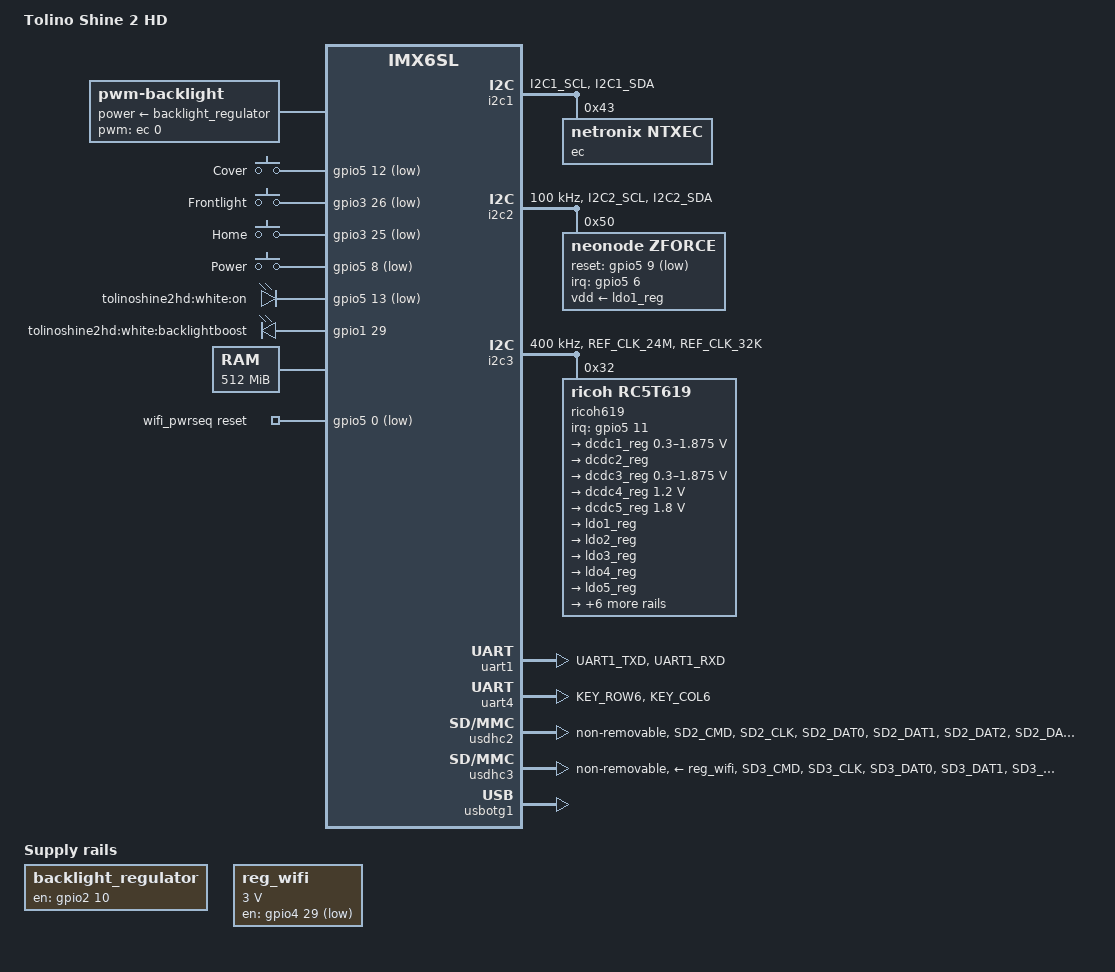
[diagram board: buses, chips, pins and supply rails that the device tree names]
// SPDX-License-Identifier: GPL-2.0
/*
 * Device tree for the Tolino Shine 2 HD ebook reader
 *
 * Name on mainboard is: 37NB-E60QF0+4A2 or 37NB-E60QF0+4A3
 * Serials start with: E60QF2
 *
 * Copyright 2020 Andreas Kemnade
 */

/dts-v1/;

#include <dt-bindings/input/input.h>
#include <dt-bindings/gpio/gpio.h>
#include "imx6sl.dtsi"

/ {
	model = "Tolino Shine 2 HD";
	compatible = "kobo,tolino-shine2hd", "fsl,imx6sl";

	backlight {
		compatible = "pwm-backlight";
		pwms = <&ec 0 50000>;
		power-supply = <&backlight_regulator>;
	};

	backlight_regulator: regulator-backlight {
		compatible = "regulator-fixed";
		pinctrl-names = "default";
		pinctrl-0 = <&pinctrl_backlight_power>;
		regulator-name = "backlight";
		gpio = <&gpio2 10 GPIO_ACTIVE_HIGH>;
		enable-active-high;
	};

	chosen {
		stdout-path = &uart1;
	};

	gpio_keys: gpio-keys {
		compatible = "gpio-keys";
		pinctrl-names = "default";
		pinctrl-0 = <&pinctrl_gpio_keys>;

		key-cover {
			label = "Cover";
			gpios = <&gpio5 12 GPIO_ACTIVE_LOW>;
			linux,code = <SW_LID>;
			linux,input-type = <EV_SW>;
			wakeup-source;
		};

		key-fl {
			label = "Frontlight";
			gpios = <&gpio3 26 GPIO_ACTIVE_LOW>;
			linux,code = <KEY_BRIGHTNESS_CYCLE>;
		};

		key-home {
			label = "Home";
			gpios = <&gpio3 25 GPIO_ACTIVE_LOW>;
			linux,code = <KEY_HOME>;
		};

		key-power {
			label = "Power";
			gpios = <&gpio5 8 GPIO_ACTIVE_LOW>;
			linux,code = <KEY_POWER>;
			wakeup-source;
		};
	};

	leds: leds {
		compatible = "gpio-leds";
		pinctrl-names = "default";
		pinctrl-0 = <&pinctrl_led>;

		led-0 {
			label = "tolinoshine2hd:white:on";
			gpios = <&gpio5 13 GPIO_ACTIVE_LOW>;
			linux,default-trigger = "timer";
		};

		led-1 {
			label = "tolinoshine2hd:white:backlightboost";
			gpios = <&gpio1 29 GPIO_ACTIVE_HIGH>;
			linux,default-trigger = "off";
		};
	};

	memory@80000000 {
		device_type = "memory";
		reg = <0x80000000 0x20000000>;
	};

	reg_wifi: regulator-wifi {
		compatible = "regulator-fixed";
		pinctrl-names = "default";
		pinctrl-0 = <&pinctrl_wifi_power>;
		regulator-name = "SD3_SPWR";
		regulator-min-microvolt = <3000000>;
		regulator-max-microvolt = <3000000>;
		gpio = <&gpio4 29 GPIO_ACTIVE_LOW>;
	};

	wifi_pwrseq: wifi_pwrseq {
		compatible = "mmc-pwrseq-simple";
		pinctrl-names = "default";
		pinctrl-0 = <&pinctrl_wifi_reset>;
		post-power-on-delay-ms = <20>;
		reset-gpios = <&gpio5 0 GPIO_ACTIVE_LOW>;
	};
};

&i2c1 {
	pinctrl-names = "default","sleep";
	pinctrl-0 = <&pinctrl_i2c1>;
	pinctrl-1 = <&pinctrl_i2c1_sleep>;
	status = "okay";

	ec: embedded-controller@43 {
		compatible = "netronix,ntxec";
		reg = <0x43>;
		#pwm-cells = <2>;
	};
};

&i2c2 {
	pinctrl-names = "default","sleep";
	pinctrl-0 = <&pinctrl_i2c2>;
	pinctrl-1 = <&pinctrl_i2c2_sleep>;
	clock-frequency = <100000>;
	status = "okay";

	zforce: touchscreen@50 {
		compatible = "neonode,zforce";
		pinctrl-names = "default";
		pinctrl-0 = <&pinctrl_zforce>;
		reg = <0x50>;
		interrupt-parent = <&gpio5>;
		interrupts = <6 IRQ_TYPE_EDGE_FALLING>;
		vdd-supply = <&ldo1_reg>;
		reset-gpios = <&gpio5 9 GPIO_ACTIVE_LOW>;
		x-size = <1072>;
		y-size = <1448>;
	};

	/* TODO: TPS65185 PMIC for E Ink at 0x68 */

};

&i2c3 {
	pinctrl-names = "default";
	pinctrl-0 = <&pinctrl_i2c3>;
	clock-frequency = <400000>;
	status = "okay";

	ricoh619: pmic@32 {
		compatible = "ricoh,rc5t619";
		pinctrl-names = "default";
		pinctrl-0 = <&pinctrl_ricoh_gpio>;
		reg = <0x32>;
		interrupt-parent = <&gpio5>;
		interrupts = <11 IRQ_TYPE_EDGE_FALLING>;
		system-power-controller;

		regulators {
			dcdc1_reg: DCDC1 {
				regulator-name = "DCDC1";
				regulator-min-microvolt = <300000>;
				regulator-max-microvolt = <1875000>;
				regulator-always-on;
				regulator-boot-on;

				regulator-state-mem {
					regulator-on-in-suspend;
					regulator-suspend-max-microvolt = <900000>;
					regulator-suspend-min-microvolt = <900000>;
				};
			};

			/* Core3_3V3 */
			dcdc2_reg: DCDC2 {
				regulator-name = "DCDC2";
				regulator-always-on;
				regulator-boot-on;

				regulator-state-mem {
					regulator-on-in-suspend;
					regulator-suspend-max-microvolt = <3100000>;
					regulator-suspend-min-microvolt = <3100000>;
				};
			};

			dcdc3_reg: DCDC3 {
				regulator-name = "DCDC3";
				regulator-min-microvolt = <300000>;
				regulator-max-microvolt = <1875000>;
				regulator-always-on;
				regulator-boot-on;

				regulator-state-mem {
					regulator-on-in-suspend;
					regulator-suspend-max-microvolt = <1140000>;
					regulator-suspend-min-microvolt = <1140000>;
				};
			};

			/* Core4_1V2 */
			dcdc4_reg: DCDC4 {
				regulator-name = "DCDC4";
				regulator-min-microvolt = <1200000>;
				regulator-max-microvolt = <1200000>;
				regulator-always-on;
				regulator-boot-on;

				regulator-state-mem {
					regulator-on-in-suspend;
					regulator-suspend-max-microvolt = <1140000>;
					regulator-suspend-min-microvolt = <1140000>;
				};
			};

			/* Core4_1V8 */
			dcdc5_reg: DCDC5 {
				regulator-name = "DCDC5";
				regulator-min-microvolt = <1800000>;
				regulator-max-microvolt = <1800000>;
				regulator-always-on;
				regulator-boot-on;

				regulator-state-mem {
					regulator-on-in-suspend;
					regulator-suspend-max-microvolt = <1700000>;
					regulator-suspend-min-microvolt = <1700000>;
				};
			};

			/* IR_3V3 */
			ldo1_reg: LDO1  {
				regulator-name = "LDO1";
				regulator-boot-on;
			};

			/* Core1_3V3 */
			ldo2_reg: LDO2  {
				regulator-name = "LDO2";
				regulator-always-on;
				regulator-boot-on;

				regulator-state-mem {
					regulator-on-in-suspend;
					regulator-suspend-max-microvolt = <3000000>;
					regulator-suspend-min-microvolt = <3000000>;
				};
			};

			/* Core5_1V2 */
			ldo3_reg: LDO3  {
				regulator-name = "LDO3";
				regulator-always-on;
				regulator-boot-on;
			};

			ldo4_reg: LDO4 {
				regulator-name = "LDO4";
				regulator-boot-on;
			};

			/* SPD_3V3 */
			ldo5_reg: LDO5 {
				regulator-name = "LDO5";
				regulator-always-on;
				regulator-boot-on;
			};

			/* DDR_0V6 */
			ldo6_reg: LDO6 {
				regulator-name = "LDO6";
				regulator-always-on;
				regulator-boot-on;
			};

			/* VDD_PWM */
			ldo7_reg: LDO7 {
				regulator-name = "LDO7";
				regulator-always-on;
				regulator-boot-on;
			};

			/* ldo_1v8 */
			ldo8_reg: LDO8 {
				regulator-name = "LDO8";
				regulator-min-microvolt = <1800000>;
				regulator-max-microvolt = <1800000>;
				regulator-always-on;
				regulator-boot-on;
			};

			ldo9_reg: LDO9 {
				regulator-name = "LDO9";
				regulator-boot-on;
			};

			ldo10_reg: LDO10 {
				regulator-name = "LDO10";
				regulator-boot-on;
			};

			ldortc1_reg: LDORTC1  {
				regulator-name = "LDORTC1";
				regulator-always-on;
				regulator-boot-on;
			};
		};
	};
};

&iomuxc {
	pinctrl-names = "default";
	pinctrl-0 = <&pinctrl_hog>;

	pinctrl_backlight_power: backlight-powergrp {
		fsl,pins = <
			MX6SL_PAD_EPDC_PWRCTRL3__GPIO2_IO10 0x10059
		>;
	};

	pinctrl_gpio_keys: gpio-keysgrp {
		fsl,pins = <
			MX6SL_PAD_SD1_DAT1__GPIO5_IO08  0x17059
			MX6SL_PAD_SD1_DAT4__GPIO5_IO12  0x17059
			MX6SL_PAD_KEY_COL1__GPIO3_IO26  0x17059
			MX6SL_PAD_KEY_ROW0__GPIO3_IO25  0x17059
		>;
	};

	pinctrl_hog: hoggrp {
		fsl,pins = <
			MX6SL_PAD_LCD_DAT0__GPIO2_IO20	0x79
			MX6SL_PAD_LCD_DAT1__GPIO2_IO21	0x79
			MX6SL_PAD_LCD_DAT2__GPIO2_IO22	0x79
			MX6SL_PAD_LCD_DAT3__GPIO2_IO23	0x79
			MX6SL_PAD_LCD_DAT4__GPIO2_IO24	0x79
			MX6SL_PAD_LCD_DAT5__GPIO2_IO25	0x79
			MX6SL_PAD_LCD_DAT6__GPIO2_IO26	0x79
			MX6SL_PAD_LCD_DAT7__GPIO2_IO27	0x79
			MX6SL_PAD_LCD_DAT8__GPIO2_IO28	0x79
			MX6SL_PAD_LCD_DAT9__GPIO2_IO29	0x79
			MX6SL_PAD_LCD_DAT10__GPIO2_IO30	0x79
			MX6SL_PAD_LCD_DAT11__GPIO2_IO31	0x79
			MX6SL_PAD_LCD_DAT12__GPIO3_IO00	0x79
			MX6SL_PAD_LCD_DAT13__GPIO3_IO01	0x79
			MX6SL_PAD_LCD_DAT14__GPIO3_IO02	0x79
			MX6SL_PAD_LCD_DAT15__GPIO3_IO03	0x79
			MX6SL_PAD_LCD_DAT16__GPIO3_IO04	0x79
			MX6SL_PAD_LCD_DAT17__GPIO3_IO05	0x79
			MX6SL_PAD_LCD_DAT18__GPIO3_IO06	0x79
			MX6SL_PAD_LCD_DAT19__GPIO3_IO07	0x79
			MX6SL_PAD_LCD_DAT20__GPIO3_IO08	0x79
			MX6SL_PAD_LCD_DAT21__GPIO3_IO09	0x79
			MX6SL_PAD_LCD_DAT22__GPIO3_IO10	0x79
			MX6SL_PAD_LCD_DAT23__GPIO3_IO11	0x79
			MX6SL_PAD_LCD_CLK__GPIO2_IO15		0x79
			MX6SL_PAD_LCD_ENABLE__GPIO2_IO16	0x79
			MX6SL_PAD_LCD_HSYNC__GPIO2_IO17	0x79
			MX6SL_PAD_LCD_VSYNC__GPIO2_IO18	0x79
			MX6SL_PAD_LCD_RESET__GPIO2_IO19	0x79
			MX6SL_PAD_KEY_COL3__GPIO3_IO30		0x79
			MX6SL_PAD_KEY_ROW7__GPIO4_IO07		0x79
			MX6SL_PAD_ECSPI2_MOSI__GPIO4_IO13	0x79
			MX6SL_PAD_KEY_COL5__GPIO4_IO02		0x79
		>;
	};

	pinctrl_i2c1: i2c1grp {
		fsl,pins = <
			MX6SL_PAD_I2C1_SCL__I2C1_SCL	 0x4001f8b1
			MX6SL_PAD_I2C1_SDA__I2C1_SDA	 0x4001f8b1
		>;
	};

	pinctrl_i2c1_sleep: i2c1grp-sleep {
		fsl,pins = <
			MX6SL_PAD_I2C1_SCL__I2C1_SCL	 0x400108b1
			MX6SL_PAD_I2C1_SDA__I2C1_SDA	 0x400108b1
		>;
	};

	pinctrl_i2c2: i2c2grp {
		fsl,pins = <
			MX6SL_PAD_I2C2_SCL__I2C2_SCL	 0x4001f8b1
			MX6SL_PAD_I2C2_SDA__I2C2_SDA	 0x4001f8b1
		>;
	};

	pinctrl_i2c2_sleep: i2c2grp-sleep {
		fsl,pins = <
			MX6SL_PAD_I2C2_SCL__I2C2_SCL	 0x400108b1
			MX6SL_PAD_I2C2_SDA__I2C2_SDA	 0x400108b1
		>;
	};

	pinctrl_i2c3: i2c3grp {
		fsl,pins = <
			MX6SL_PAD_REF_CLK_24M__I2C3_SCL  0x4001f8b1
			MX6SL_PAD_REF_CLK_32K__I2C3_SDA  0x4001f8b1
		>;
	};

	pinctrl_led: ledgrp {
		fsl,pins = <
			MX6SL_PAD_SD1_DAT2__GPIO5_IO13    0x17059
			MX6SL_PAD_EPDC_SDCE2__GPIO1_IO29  0x17059
		>;
	};

	pinctrl_ricoh_gpio: ricoh_gpiogrp {
		fsl,pins = <
			MX6SL_PAD_SD1_CLK__GPIO5_IO15	0x1b8b1 /* ricoh619 chg */
			MX6SL_PAD_SD1_DAT0__GPIO5_IO11	0x1b8b1 /* ricoh619 irq */
			MX6SL_PAD_KEY_COL2__GPIO3_IO28	0x1b8b1 /* ricoh619 bat_low_int */
		>;
	};

	pinctrl_uart1: uart1grp {
		fsl,pins = <
			MX6SL_PAD_UART1_TXD__UART1_TX_DATA 0x1b0b1
			MX6SL_PAD_UART1_RXD__UART1_RX_DATA 0x1b0b1
		>;
	};

	pinctrl_uart4: uart4grp {
		fsl,pins = <
			MX6SL_PAD_KEY_ROW6__UART4_TX_DATA 0x1b0b1
			MX6SL_PAD_KEY_COL6__UART4_RX_DATA 0x1b0b1
		>;
	};

	pinctrl_usbotg1: usbotg1grp {
		fsl,pins = <
			MX6SL_PAD_EPDC_PWRCOM__USB_OTG1_ID 0x17059
		>;
	};

	pinctrl_usdhc2: usdhc2grp {
		fsl,pins = <
			MX6SL_PAD_SD2_CMD__SD2_CMD		0x17059
			MX6SL_PAD_SD2_CLK__SD2_CLK		0x13059
			MX6SL_PAD_SD2_DAT0__SD2_DATA0		0x17059
			MX6SL_PAD_SD2_DAT1__SD2_DATA1		0x17059
			MX6SL_PAD_SD2_DAT2__SD2_DATA2		0x17059
			MX6SL_PAD_SD2_DAT3__SD2_DATA3		0x17059
		>;
	};

	pinctrl_usdhc2_100mhz: usdhc2grp-100mhz {
		fsl,pins = <
			MX6SL_PAD_SD2_CMD__SD2_CMD		0x170b9
			MX6SL_PAD_SD2_CLK__SD2_CLK		0x130b9
			MX6SL_PAD_SD2_DAT0__SD2_DATA0		0x170b9
			MX6SL_PAD_SD2_DAT1__SD2_DATA1		0x170b9
			MX6SL_PAD_SD2_DAT2__SD2_DATA2		0x170b9
			MX6SL_PAD_SD2_DAT3__SD2_DATA3		0x170b9
		>;
	};

	pinctrl_usdhc2_200mhz: usdhc2grp-200mhz {
		fsl,pins = <
			MX6SL_PAD_SD2_CMD__SD2_CMD		0x170f9
			MX6SL_PAD_SD2_CLK__SD2_CLK		0x130f9
			MX6SL_PAD_SD2_DAT0__SD2_DATA0		0x170f9
			MX6SL_PAD_SD2_DAT1__SD2_DATA1		0x170f9
			MX6SL_PAD_SD2_DAT2__SD2_DATA2		0x170f9
			MX6SL_PAD_SD2_DAT3__SD2_DATA3		0x170f9
		>;
	};

	pinctrl_usdhc2_sleep: usdhc2grp-sleep {
		fsl,pins = <
			MX6SL_PAD_SD2_CMD__GPIO5_IO04		0x100f9
			MX6SL_PAD_SD2_CLK__GPIO5_IO05		0x100f9
			MX6SL_PAD_SD2_DAT0__GPIO5_IO01		0x100f9
			MX6SL_PAD_SD2_DAT1__GPIO4_IO30		0x100f9
			MX6SL_PAD_SD2_DAT2__GPIO5_IO03		0x100f9
			MX6SL_PAD_SD2_DAT3__GPIO4_IO28		0x100f9
		>;
	};

	pinctrl_usdhc3: usdhc3grp {
		fsl,pins = <
			MX6SL_PAD_SD3_CMD__SD3_CMD	0x11059
			MX6SL_PAD_SD3_CLK__SD3_CLK	0x11059
			MX6SL_PAD_SD3_DAT0__SD3_DATA0	0x11059
			MX6SL_PAD_SD3_DAT1__SD3_DATA1	0x11059
			MX6SL_PAD_SD3_DAT2__SD3_DATA2	0x11059
			MX6SL_PAD_SD3_DAT3__SD3_DATA3	0x11059
		>;
	};

	pinctrl_usdhc3_100mhz: usdhc3grp-100mhz {
		fsl,pins = <
			MX6SL_PAD_SD3_CMD__SD3_CMD	0x170b9
			MX6SL_PAD_SD3_CLK__SD3_CLK	0x170b9
			MX6SL_PAD_SD3_DAT0__SD3_DATA0	0x170b9
			MX6SL_PAD_SD3_DAT1__SD3_DATA1	0x170b9
			MX6SL_PAD_SD3_DAT2__SD3_DATA2	0x170b9
			MX6SL_PAD_SD3_DAT3__SD3_DATA3	0x170b9
		>;
	};

	pinctrl_usdhc3_200mhz: usdhc3grp-200mhz {
		fsl,pins = <
			MX6SL_PAD_SD3_CMD__SD3_CMD	0x170f9
			MX6SL_PAD_SD3_CLK__SD3_CLK	0x170f9
			MX6SL_PAD_SD3_DAT0__SD3_DATA0	0x170f9
			MX6SL_PAD_SD3_DAT1__SD3_DATA1	0x170f9
			MX6SL_PAD_SD3_DAT2__SD3_DATA2	0x170f9
			MX6SL_PAD_SD3_DAT3__SD3_DATA3	0x170f9
		>;
	};

	pinctrl_usdhc3_sleep: usdhc3grp-sleep {
		fsl,pins = <
			MX6SL_PAD_SD3_CMD__GPIO5_IO21	0x100c1
			MX6SL_PAD_SD3_CLK__GPIO5_IO18	0x100c1
			MX6SL_PAD_SD3_DAT0__GPIO5_IO19	0x100c1
			MX6SL_PAD_SD3_DAT1__GPIO5_IO20	0x100c1
			MX6SL_PAD_SD3_DAT2__GPIO5_IO16	0x100c1
			MX6SL_PAD_SD3_DAT3__GPIO5_IO17	0x100c1
		>;
	};

	pinctrl_wifi_power: wifi-powergrp {
		fsl,pins = <
			MX6SL_PAD_SD2_DAT6__GPIO4_IO29	0x10059	/* WIFI_3V3_ON */
		>;
	};

	pinctrl_wifi_reset: wifi-resetgrp {
		fsl,pins = <
			MX6SL_PAD_SD2_DAT7__GPIO5_IO00	0x10059	/* WIFI_RST */
		>;
	};

	pinctrl_zforce: zforcegrp {
		fsl,pins = <
			MX6SL_PAD_SD1_DAT3__GPIO5_IO06		0x17059 /* TP_INT */
			MX6SL_PAD_SD1_DAT5__GPIO5_IO09		0x10059 /* TP_RST */
		>;
	};
};

&reg_vdd1p1 {
	vin-supply = <&dcdc2_reg>;
};

&reg_vdd2p5 {
	vin-supply = <&dcdc2_reg>;
};

&reg_arm {
	vin-supply = <&dcdc3_reg>;
};

&reg_soc {
	vin-supply = <&dcdc1_reg>;
};

&reg_pu {
	vin-supply = <&dcdc1_reg>;
};

&snvs_rtc {
	/*
	 * We are using the RTC in the PMIC, but this one is not disabled
	 * in imx6sl.dtsi.
	 */
	status = "disabled";
};

&uart1 {
	/* J4, through-holes */
	pinctrl-names = "default";
	pinctrl-0 = <&pinctrl_uart1>;
	status = "okay";
};

&uart4 {
	/* TP198, next to J4, SMD pads */
	pinctrl-names = "default";
	pinctrl-0 = <&pinctrl_uart4>;
	status = "okay";
};

&usdhc2 {
	pinctrl-names = "default", "state_100mhz", "state_200mhz", "sleep";
	pinctrl-0 = <&pinctrl_usdhc2>;
	pinctrl-1 = <&pinctrl_usdhc2_100mhz>;
	pinctrl-2 = <&pinctrl_usdhc2_200mhz>;
	pinctrl-3 = <&pinctrl_usdhc2_sleep>;
	non-removable;
	status = "okay";

	/* internal uSD card */
};

&usdhc3 {
	pinctrl-names = "default", "state_100mhz", "state_200mhz", "sleep";
	pinctrl-0 = <&pinctrl_usdhc3>;
	pinctrl-1 = <&pinctrl_usdhc3_100mhz>;
	pinctrl-2 = <&pinctrl_usdhc3_200mhz>;
	pinctrl-3 = <&pinctrl_usdhc3_sleep>;
	vmmc-supply = <&reg_wifi>;
	mmc-pwrseq = <&wifi_pwrseq>;
	cap-power-off-card;
	non-removable;
	status = "okay";

	/*
	 * 37NB-E60QF0+4A2: CyberTan WC121 (BCM43362) SDIO WiFi
	 * 37NB-E60QF0+4A3: RTL8189F SDIO WiFi
	 */
};

&usbotg1 {
	pinctrl-names = "default";
	disable-over-current;
	srp-disable;
	hnp-disable;
	adp-disable;
	status = "okay";
};
